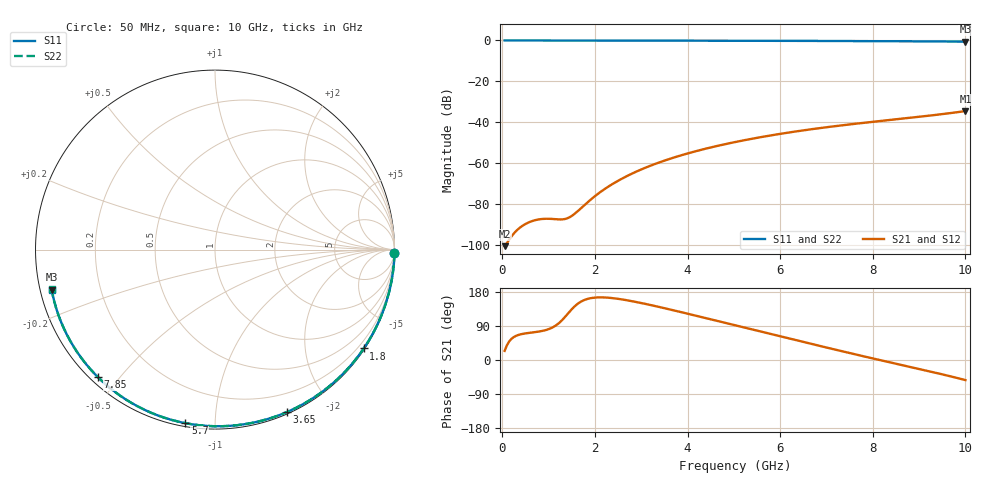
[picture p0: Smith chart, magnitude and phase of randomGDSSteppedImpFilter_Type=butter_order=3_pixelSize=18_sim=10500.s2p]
! freq	dB(S11)	phase(S11)	dB(S12)	phase(S12)
!  dB(S21)	phase(S21)	dB(S22)	phase(S22)
!S-par simulation data
#  GHz  S  DB  R 50
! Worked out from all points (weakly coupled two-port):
!   200 points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, 50 MHz to 10 GHz, reference 50 ohm
!   highest |S21| = -34.47 dB at 10 GHz (marker M1); lowest = -100.4 dB at 50 MHz (marker M2)
!   lowest |S11| = -0.6 dB at 10 GHz (marker M3), VSWR 30.71, Z = 1.65 - j6.02 ohm
!   |S11| at or under -10 dB: nowhere
!   |S22| runs from -0.6 to 0.0 dB; largest |S21 - S12| = 0
!   S11 on the Smith chart (normalised r, x): 50 MHz: open; 1.8 GHz: 0.03, -3.31; 3.65 GHz: 0.02, -1.53; 5.7 GHz: 0.02, -0.84; 7.85 GHz: 0.02, -0.44; 10 GHz: 0.03, -0.12
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0.05  -0.00 -1.0  -100.38 24.1  -100.38 24.1  -0.00 -1.0
0.45  -0.01 -8.5  -90.23 69.2  -90.23 69.2  -0.01 -8.5
0.85  -0.02 -16.1  -87.13 76.4  -87.13 76.4  -0.02 -16.1
1.3  -0.03 -24.4  -87.30 106.2  -87.30 106.2  -0.03 -24.4
1.75  -0.04 -32.7  -80.83 157.2  -80.83 157.2  -0.04 -32.7
1.8  -0.04 -33.6  -79.81 159.6  -79.81 159.6  -0.04 -33.6
2  -0.05 -37.2  -75.99 164.7  -75.99 164.7  -0.05 -37.3
2.15  -0.05 -40.0  -73.45 165.3  -73.45 165.3  -0.05 -40.0
2.5  -0.06 -46.2  -68.47 161.4  -68.47 161.4  -0.06 -46.2
2.9  -0.07 -53.3  -63.93 152.9  -63.93 152.9  -0.07 -53.3
3.4  -0.08 -62.0  -59.43 139.6  -59.43 139.6  -0.08 -62.0
3.65  -0.09 -66.3  -57.52 132.5  -57.52 132.5  -0.09 -66.3
4.3  -0.11 -77.1  -53.33 113.4  -53.33 113.4  -0.11 -77.2
5.05  -0.14 -89.4  -49.47 91.0  -49.47 91.0  -0.14 -89.4
5.7  -0.17 -99.6  -46.71 71.5  -46.71 71.5  -0.17 -99.7
6.2  -0.19 -107.4  -44.87 56.6  -44.87 56.6  -0.19 -107.5
6.7  -0.22 -115.1  -43.24 41.7  -43.24 41.7  -0.23 -115.1
7.25  -0.26 -123.4  -41.64 25.6  -41.64 25.6  -0.26 -123.5
7.85  -0.31 -132.5  -40.07 8.4  -40.07 8.4  -0.31 -132.6
8.35  -0.36 -140.1  -38.85 -5.7  -38.85 -5.7  -0.36 -140.2
9.2  -0.45 -153.3  -36.74 -29.3  -36.74 -29.3  -0.45 -153.3
10  -0.57 -166.3  -34.47 -53.0  -34.47 -53.0  -0.57 -166.4
